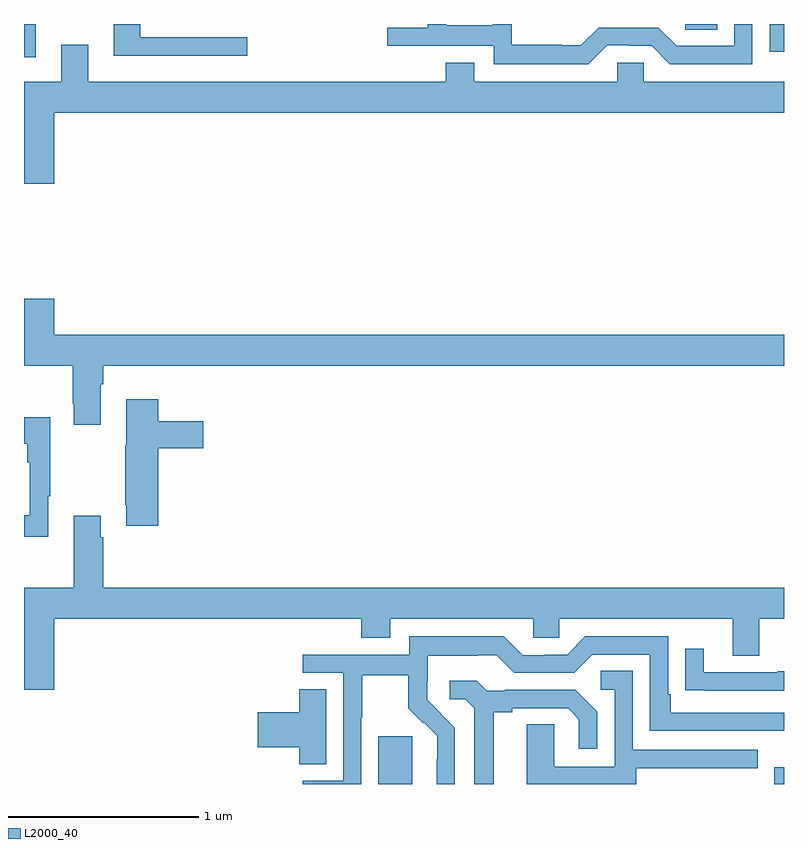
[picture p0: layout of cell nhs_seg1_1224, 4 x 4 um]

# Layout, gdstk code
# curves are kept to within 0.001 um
import gdstk
lib = gdstk.Library(unit=1e-6, precision=1e-09)
def R(c, l, rs):  # rectangles x0, y0, x1, y1
    for r in rs: c.add(gdstk.rectangle(r[:2], r[2:], *l))
def P(c, l, *ps):  # polygons
    for p in ps: c.add(gdstk.Polygon(p, *l))
L2000_40 = (2000, 40)

nhs_seg1_1224 = lib.new_cell('nhs_seg1_1224')
R(nhs_seg1_1224, L2000_40, [(178.865,548.199,179.044,548.451), (180.948,548.199,181,548.287), (177,552.024,177.061,552.199), (180.925,552.054,181,552.199), (180.48,552.169,180.648,552.199)])
P(nhs_seg1_1224, L2000_40, [(178.174,552.129),(177.613,552.129),(177.613,552.199),(177.473,552.199),(177.473,552.032),(178.174,552.032)],
  [(180.069,552.087),(180.185,552.087),(180.185,552.084),(180.303,552.084),(180.399,551.988),(180.834,551.988),(180.834,552.199),(180.738,552.199),(180.738,552.084),(180.435,552.084),(180.339,552.18),(180.024,552.18),(179.931,552.087),(179.831,552.087),(179.831,552.091),(179.568,552.091),(179.568,552.199),(179.467,552.199),(179.467,552.193),(179.223,552.193),(179.223,552.199),(179.124,552.199),(179.124,552.18),(178.911,552.18),(178.911,552.084),(179.472,552.084),(179.472,551.987),(179.969,551.987)],
  [(177.16,551.732),(181,551.732),(181,551.896),(180.261,551.896),(180.261,551.994),(180.123,551.994),(180.123,551.896),(179.371,551.896),(179.371,551.995),(179.219,551.995),(179.219,551.896),(177.337,551.896),(177.337,552.091),(177.197,552.091),(177.197,551.896),(177,551.896),(177,551.358),(177.16,551.358)],
  [(177.403,550.304),(177.416,550.304),(177.416,550.4),(181,550.4),(181,550.564),(177.16,550.564),(177.16,550.753),(177,550.753),(177,550.4),(177.256,550.4),(177.256,550.201),(177.263,550.201),(177.263,550.089),(177.403,550.089)],
  [(177.707,549.965),(177.943,549.965),(177.943,550.107),(177.707,550.107),(177.707,550.225),(177.539,550.225),(177.539,549.981),(177.532,549.981),(177.532,549.67),(177.539,549.67),(177.539,549.558),(177.707,549.558)],
  [(177.127,549.713),(177.139,549.713),(177.139,550.129),(177,550.129),(177,549.989),(177.018,549.989),(177.018,549.893),(177.03,549.893),(177.03,549.614),(177,549.614),(177,549.501),(177.127,549.501)],
  [(177.16,549.068),(178.775,549.068),(178.775,548.969),(178.927,548.969),(178.927,549.068),(179.679,549.068),(179.679,548.97),(179.817,548.97),(179.817,549.068),(180.731,549.068),(180.731,548.874),(180.871,548.874),(180.871,549.068),(181,549.068),(181,549.232),(177.416,549.232),(177.416,549.497),(177.403,549.497),(177.403,549.61),(177.263,549.61),(177.263,549.232),(177,549.232),(177,548.694),(177.16,548.694)],
  [(178.776,548.548),(178.779,548.548),(178.779,548.772),(179.023,548.772),(179.023,548.597),(179.1,548.52),(179.103,548.523),(179.174,548.453),(179.174,548.33),(179.172,548.33),(179.172,548.199),(179.268,548.199),(179.268,548.494),(179.122,548.642),(179.122,548.739),(179.124,548.739),(179.124,548.873),(179.387,548.873),(179.387,548.877),(179.487,548.877),(179.58,548.784),(179.895,548.784),(179.991,548.88),(180.294,548.88),(180.294,548.478),(181,548.478),(181,548.574),(180.403,548.574),(180.403,548.671),(180.39,548.671),(180.39,548.976),(179.955,548.976),(179.859,548.88),(179.741,548.88),(179.741,548.877),(179.625,548.877),(179.525,548.977),(179.028,548.977),(179.028,548.88),(178.467,548.88),(178.467,548.784),(178.68,548.784),(178.68,548.217),(178.467,548.217),(178.467,548.199),(178.776,548.199)],
  [(181,548.792),(180.967,548.792),(180.967,548.787),(180.577,548.787),(180.577,548.911),(180.481,548.911),(180.481,548.692),(180.583,548.692),(180.583,548.691),(181,548.691)],
  [(180.223,548.283),(180.863,548.283),(180.863,548.379),(180.204,548.379),(180.204,548.795),(180.036,548.795),(180.036,548.694),(180.108,548.694),(180.108,548.289),(179.79,548.289),(179.79,548.513),(179.645,548.513),(179.645,548.199),(180.223,548.199)],
  [(179.473,548.576),(179.569,548.576),(179.569,548.598),(179.864,548.598),(179.921,548.541),(179.921,548.385),(180.018,548.385),(180.018,548.578),(179.902,548.694),(179.53,548.694),(179.53,548.691),(179.436,548.691),(179.384,548.743),(179.241,548.743),(179.241,548.646),(179.322,548.646),(179.369,548.599),(179.369,548.199),(179.473,548.199)],
  [(178.591,548.699),(178.448,548.699),(178.448,548.576),(178.23,548.576),(178.23,548.393),(178.448,548.393),(178.448,548.302),(178.591,548.302)])

lib.write_gds('nhs_seg1_1224.gds')
